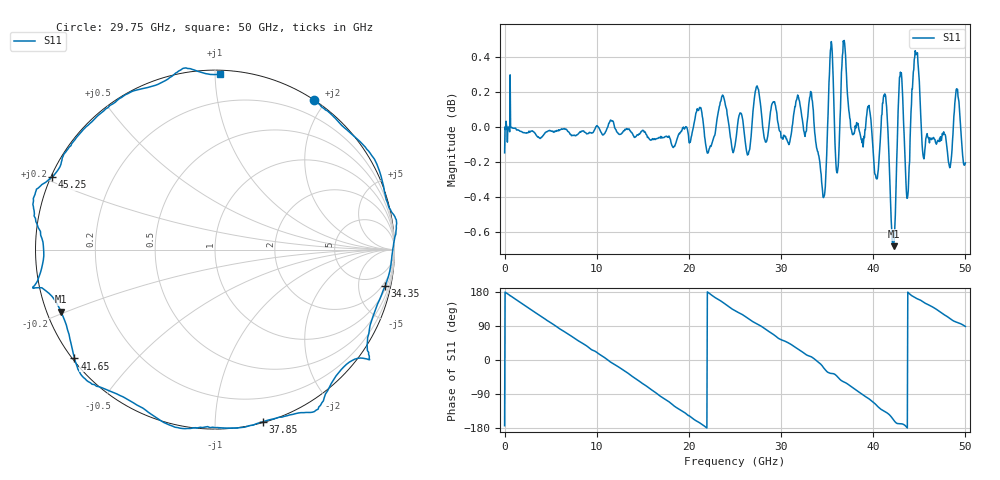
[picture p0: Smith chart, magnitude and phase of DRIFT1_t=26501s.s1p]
!Created with skrf (http://scikit-rf.org).
# Hz S RI R 50.0
!freq ReS11 ImS11
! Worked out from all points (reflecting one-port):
!   1001 points, 300 kHz to 50 GHz, reference 50 ohm
!   lowest |S11| = -0.7 dB at 42.2 GHz (marker M1), VSWR 25.54, Z = 2.03 - j9.68 ohm
!   phase of S11 starts at -173 deg and turns -818 deg over the sweep
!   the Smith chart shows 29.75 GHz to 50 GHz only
!   S11 on the Smith chart (normalised r, x): 29.75 GHz: 0.00, +1.86; 34.35 GHz: 1.35, -9.18; 37.85 GHz: 0.01, -1.32; 41.65 GHz: 0.01, -0.34; 45.25 GHz: 0.00, +0.21; 50 GHz: 0.02, +1.03
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300000  -0.9767 -0.1131
1.450291e9  -0.9122 0.405
3.25028e9  -0.5919 0.8014
6.250262e9  0.202 0.9781
9.450243e9  0.8864 0.4543
1.250022e10  0.9318 -0.3495
1.580021e10  0.2378 -0.9627
1.73502e10  -0.2109 -0.9708
1.875019e10  -0.5984 -0.7924
2.150017e10  -0.994 -0.1532
2.350016e10  -0.9236 0.4283
2.500015e10  -0.6327 0.7587
2.740014e10  -0.0959 1.023
2.975012e10  0.5512 0.8339
3.125011e10  0.7861 0.6213
3.31501e10  1.005 0.1739
3.435009e10  0.9476 -0.2044
3.520009e10  0.8561 -0.573
3.750008e10  0.3725 -0.9334
3.785007e10  0.2688 -0.9589
3.960006e10  -0.2373 -0.9832
4.165005e10  -0.7828 -0.6063
4.220005e10  -0.8576 -0.3458
4.290004e10  -1.011 -0.2132
4.375004e10  -0.9559 0.0157
4.525003e10  -0.9102 0.4032
4.770001e10  -0.4878 0.8677
5e10  0.0258 0.9764
